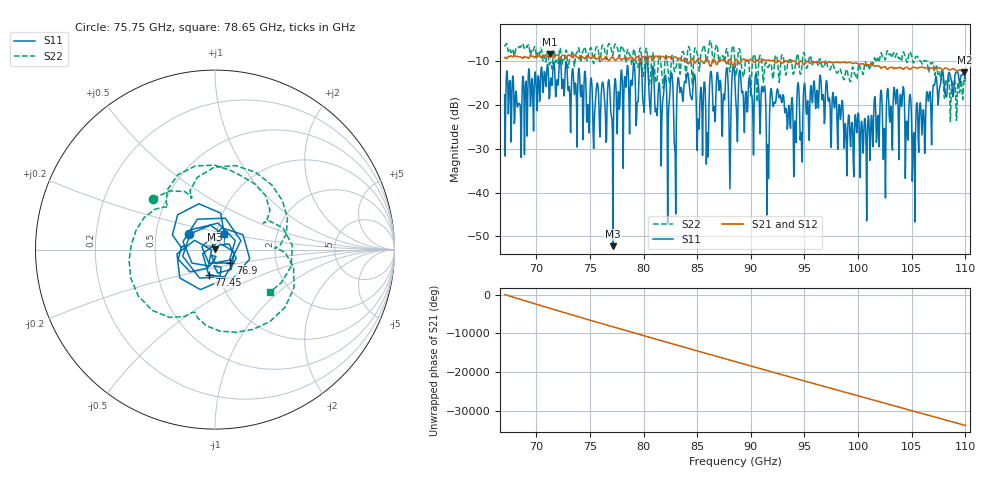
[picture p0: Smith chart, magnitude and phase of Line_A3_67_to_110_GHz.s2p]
#  HZ  S  MA  R  50.00
! Rohde & Schwarz ZVA67 4Ports - Version 4.11 - 1305.7002k04 SN: 101051
! Date: 2023-09-13 17:00:31
! Measurements: S11 S21 S12 S22
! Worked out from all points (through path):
!   860 points, 67.05 GHz to 110 GHz, reference 50 ohm
!   highest |S21| = -8.41 dB at 71.25 GHz (marker M1); lowest = -12.4 dB at 109.9 GHz (marker M2)
!   lowest |S11| = -52.2 dB at 77.15 GHz (marker M3), VSWR 1.00, Z = 50.1 + j0.225 ohm
!   |S11| at or under -10 dB: start of sweep to 72.16 GHz; 72.27 GHz to 79.66 GHz (7.383 GHz wide, 9.72 % of centre); 80.36 GHz to end of sweep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
!   |S22| runs from -23.8 to -5.2 dB; largest |S21 - S12| = 0.046
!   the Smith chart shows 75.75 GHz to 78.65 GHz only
!   S11 on the Smith chart (normalised r, x): 75.75 GHz: 0.74, +0.13; 76.9 GHz: 1.17, -0.18; 77.45 GHz: 0.90, -0.26; 78.65 GHz: 1.09, +0.19
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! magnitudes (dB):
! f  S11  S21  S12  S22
! 67.05 GHz  -17.6  -9.1  -9.1  -6.3
! 71.25 GHz  -18.2  -8.4  -8.4  -10.8
! 74.25 GHz  -15.4  -8.9  -8.9  -8.4
! 75.75 GHz  -15.6  -9.4  -9.3  -7.0
! 76.9 GHz  -19.0  -9.5  -9.5  -6.5
! 77.15 GHz  -52.2  -9.0  -9.0  -8.6
! 77.45 GHz  -16.8  -9.6  -9.6  -6.3
! 78.65 GHz  -19.9  -9.3  -9.2  -8.2
! 81.4 GHz  -15.6  -9.1  -9.1  -9.6
! 88.55 GHz  -16.4  -9.8  -9.8  -11.6
! 91.15 GHz  -17.0  -9.6  -9.6  -14.8
! 91.6 GHz  -29.0  -9.7  -9.7  -11.4
! 92 GHz  -18.5  -9.8  -9.7  -12.7
! 94.7 GHz  -26.2  -10.0  -9.9  -12.4
! 95.7 GHz  -18.8  -10.2  -10.1  -10.7
! 100.7 GHz  -23.1  -10.8  -10.8  -10.1
! 102.8 GHz  -18.8  -11.6  -11.5  -8.3
! 104.1 GHz  -19.3  -11.6  -11.6  -9.0
! 105.2 GHz  -26.3  -11.3  -11.3  -10.3
! 107.2 GHz  -15.2  -11.6  -11.6  -13.2
! 109.9 GHz  -12.4  -12.4  -12.4  -13.5
! 110 GHz  -13.9  -12.3  -12.3  -15.4
